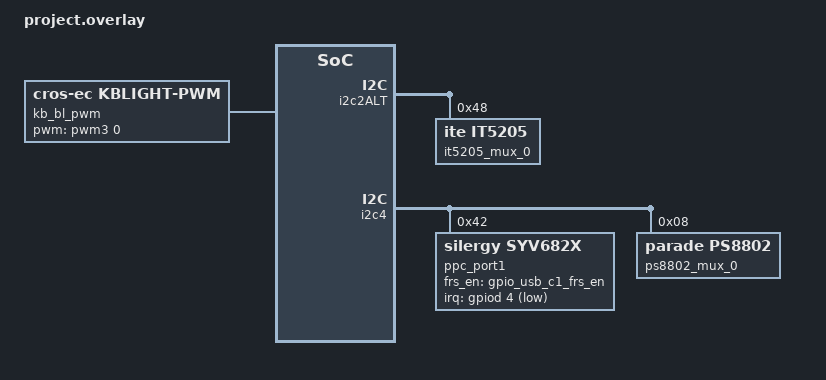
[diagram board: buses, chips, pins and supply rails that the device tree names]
/* Copyright 2024 The ChromiumOS Authors
 * Use of this source code is governed by a BSD-style license that can be
 * found in the LICENSE file.
 */

#include <cros/cbi_flash.dtsi>
#include <dt-bindings/motionsense/utils.h>

#include "../arbitrage.dtsi"
#include "../common.dtsi"
#include "../usbc.dtsi"
#include "../usba.dtsi"
#include "../generated.dtsi"
#include "../interrupts.dtsi"
#include "../overlay.dtsi"
#include "../power_signal.dtsi"
#include "keyboard.dtsi"

/ {
	aliases {
		tcs3400-int = &als_clear;
	};

	named-adc-channels {
			adc_temp_sensor_3: temp_sensor_2 {
			enum-name = "ADC_TEMP_SENSOR_2";
			io-channels = <&adc0 5>;
		};
			adc_temp_sensor_4: temp_sensor_3 {
			enum-name = "ADC_TEMP_SENSOR_3";
			io-channels = <&adc0 6>;
		};
	};

	gpio-interrupts {
		/delete-node/ volume-up ;
		/delete-node/ volume-down ;
		/delete-node/ hdmi-ec-hpd ;
		/delete-node/ lid-accel;
		/delete-node/ ec-imu;
	};

	named-gpios {
		/delete-node/ en_pp5000_fan;
		/delete-node/ imu_int_ec_l;
		/delete-node/ lid_accel_int_ec_l;
		/delete-node/ ec_ap_hid_int_odl;
		/delete-node/ ec_voldn_btn_odl;
		/delete-node/ ec_volup_btn_odl;
		/delete-node/ dp_path_usb_c1_en;
		/delete-node/ en_kb_bl;
		/delete-node/ en_pp5000_pen_l;
		/delete-node/ hdmi_ec_hpd;
		/delete-node/ dp_path_hdmi_en;
		/delete-node/ en_hdmi_pwr;
		/delete-node/ ec_gpa7_test;
		/delete-node/ lid_360_l;

		gpio_kb_bl_det_5v:kb_bl_dev_5v {
			gpios = <&gpioa 7 GPIO_INPUT>;
		};
		gpio_ec_batt_pres_odl: ec_batt_pres_odl {
			gpios = <&gpioc 7 (GPIO_INPUT)>;
			enum-name = "GPIO_BATT_PRES_ODL";
		};
		gpio_ec_cbi_wp: ec_cbi_wp {
			gpios = <&gpiod 0 (GPIO_OUTPUT | GPIO_ACTIVE_HIGH)>;
		};
		gpio_gsc_acok_od: gsc_acok_od {
			gpios = <&gpioa 4 (GPIO_INPUT)>;
			enum-name = "GPIO_AC_PRESENT";
		};
		gpio_gsc_ec_pwr_btn_odl: gsc_ec_pwr_btn_odl {
			gpios = <&gpioa 5 (GPIO_INPUT)>;
			enum-name = "GPIO_POWER_BUTTON_L";
		};
		gpio_usb_c1_dp_in_hpd_l: ec_ap_dp_hpd_l {
			gpios = <&gpiof 3 (GPIO_OUTPUT | GPIO_ACTIVE_HIGH | GPIO_OUTPUT_INIT_HIGH)>;
		};
		gpio_usb_c0_dp_in_hpd_l: usb_c0_dp_in_hpd {
			gpios = <&gpiof 2 (GPIO_OUTPUT | GPIO_ACTIVE_HIGH | GPIO_OUTPUT_INIT_HIGH)>;
		};
	};

	/* Rotation matrix used by drivers. */
	/delete-node/ motionsense-rotation-ref;

	motionsense-sensor-data {
		/delete-node/ lis2dw12-drv-data;
		/delete-node/ bmi323-drv-data;

		tcs_clear_data: tcs3400-clear-drv-data {
			compatible = "cros-ec,drvdata-tcs3400-clear";
			status = "okay";

			als-drv-data {
				compatible = "cros-ec,accelgyro-als-drv-data";
				als-cal {
					scale = <1>;
					uscale = <0>;
					offset = <0>;
					als-channel-scale {
					compatible =
					"cros-ec,accelgyro-als-channel-scale";
						k-channel-scale = <1>;
						cover-scale = <1>;
					};
				};
			};
		};

		tcs_rgb_data: tcs3400-rgb-drv-data {
			compatible = "cros-ec,drvdata-tcs3400-rgb";
			status = "okay";

			/* node for rgb_calibration_t defined in accelgyro.h */
			rgb_calibration {
				compatible =
					"cros-ec,accelgyro-rgb-calibration";

				irt = <1>;

				rgb-cal-x {
					offset = <0>;
					coeff = <0 0 0 1>;
					als-channel-scale {
					compatible =
					"cros-ec,accelgyro-als-channel-scale";
						k-channel-scale = <1>;
						cover-scale = <1>;
					};
				};
				rgb-cal-y {
					offset = <0>;
					coeff = <0 0 0 1>;
					als-channel-scale {
					compatible =
					"cros-ec,accelgyro-als-channel-scale";
						k-channel-scale = <1>;
						cover-scale = <1>;
					};
				};
				rgb-cal-z {
					offset = <0>;
					coeff = <0 0 0 1>;
					als-channel-scale {
					compatible =
					"cros-ec,accelgyro-als-channel-scale";
						k-channel-scale = <1>;
						cover-scale = <1>;
					};
				};
			};
		};
	};
	/*
	 * Declare mutexes used by sensor drivers.
	 * A mutex node is used to create an instance of mutex_t.
	 * A mutex node is referenced by a sensor node if the
	 * corresponding sensor driver needs to use the
	 * instance of the mutex.
	 */
	/delete-node/ motionsense-mutex;

	motionsense-sensor {
		/delete-node/ lid-accel;
		/delete-node/ base-accel;
		/delete-node/ base-gyro;

		als_clear: base-als-clear {
			compatible = "cros-ec,tcs3400-clear";
			status = "okay";

			active-mask = "SENSOR_ACTIVE_S0";
			location = "MOTIONSENSE_LOC_LID";
			port = <&i2c_ec_i2c_sensor_scl_1v8>;
			default-range = <0x10000>;
			drv-data = <&tcs_clear_data>;
			i2c-spi-addr-flags = "TCS3400_I2C_ADDR_FLAGS";
			configs {
				compatible =
					"cros-ec,motionsense-sensor-config";
				ec-s0 {
					/* Run ALS sensor in S0 */
					odr = <1000>;
				};
			};
		};

		base-als-rgb {
			compatible = "cros-ec,tcs3400-rgb";
			status = "okay";

			active-mask = "SENSOR_ACTIVE_S0";
			location = "MOTIONSENSE_LOC_LID";
			default-range = <0x10000>; /* scale = 1x, uscale = 0 */
			drv-data = <&tcs_rgb_data>;
		};
	};

	motionsense-sensor-info {
		compatible = "cros-ec,motionsense-sensor-info";

		/* list of entries for motion_als_sensors */
		als-sensors = <&als_clear>;
		/*
		 * list of GPIO interrupts that have to
		 * be enabled at initial stage
		 */
		sensor-irqs = <&int_als_rgb>;
		/* list of sensors in force mode */
		accel-force-mode-sensors = <&als_clear>;
	};

	batteries {
		default_battery: smp {
			compatible = "smp,l21m4pg5", "battery-smart";
		};
		sunwoda_l21d4pg4 {
			compatible = "sunwoda,l21d4pg4", "battery-smart";
		};
		smp_l23m4pg4 {
			compatible = "smp,l23m4pg4", "battery-smart";
		};
		sunwoda_l23d4pg4 {
			compatible = "sunwoda,l23d4pg4", "battery-smart";
		};
	};

	kb_bl_pwm {
		compatible = "cros-ec,kblight-pwm";
		pwms = <&pwm3 0 PWM_HZ(324) PWM_POLARITY_NORMAL>;
		status = "okay";
	};

	usbc{
		port0@0 {
			/delete-node/  usb-mux-chain-0 ;
			usb-mux-chain-0 {
				compatible = "cros-ec,usb-mux-chain";
				usb-muxes = <&it5205_mux_0 &virtual_mux_0>;
			};
		};

		port1@1 {
			/delete-node/  usb-mux-chain-1 ;
			usb-mux-chain-1 {
				compatible = "cros-ec,usb-mux-chain";
				usb-muxes = <&ps8802_mux_0 &virtual_mux_1>;
			};
		};
	};
};

&adc0 {
	pinctrl-0 = <&adc0_ch0_gpi0_default
		&adc0_ch5_gpi5_default
		&adc0_ch6_gpi6_default>;
};

/*
 * When CBI in flash is enabled, setup RO flash layout as follows:
 *   RO binary:    0x00000:0x5DFFF
 *   FMAP:         0x5DC00:0x5DFFF
 *   CBI flash:    0x5E000:0x5EFFF
 *   PSTATE block: 0x5F000:0x5FFFF
 */
&binman {
	wp-ro {
		/*
		 * Delete the pstate node so that we can force it to be the
		 * last sub-section. binman doesn't handle sub-sections with
		 * out of order offsets.
		 */
		 /delete-node/ pstate;

		 ec-ro {
			fmap {
				offset =  <(0x60000 - (0x1000 * 2) - 0x400)>;
				/*
				* don't specify 'size = <0x400>' here so
				* it is auto-assigned to the fmap size.
				*/
			};
		};
		cbi {
			offset = <(0x60000 - (0x1000 * 2))>;
			size = <0x1000>;
		};
		pstate {
			type = "section";
			offset = <(0x60000 - (0x1000 * 1))>;
			size = <0x1000>;
		};
	};
};

&i2c2ALT {
	it5205_mux_0: it5205-mux-0@48 {
		compatible = "ite,it5205";
		reg = <0x48>;
	};

	/delete-node/ ps8802-mx-0@8;
	/delete-node/ anx7510-bridge@40;
};

&i2c4 {
	ppc_port1: syv682x@42 {
		compatible = "silergy,syv682x";
		status = "okay";
		reg = <0x42>;
		frs_en_gpio = <&gpio_usb_c1_frs_en>;
		/* a duplicate of the <&usb_c1_ppc_int_odl> node in
		 * "named-gpios". This is the Zephyr preferred style,
		 * the "named-gpios" node will be dealt with at a later date.
		 */
		irq-gpios = <&gpiod 4 GPIO_ACTIVE_LOW>;
	};

	ps8802_mux_0: ps8802-mx-0@8 {
		compatible = "parade,ps8802";
		status = "okay";
		reg = <0x8>;
	};

	/delete-node/ syv682x@40;
	/delete-node/ tusb1046-mux-1@12;
};

&i2c5 {
	pinctrl-0 = <&i2c5_clk_gpe1_default
		&i2c5_data_gpe2_default>;
	pinctrl-names = "default";
};

&i2c5ALT {
	/delete-property/ pinctrl-0;
	/delete-property/ pinctrl-names;
};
